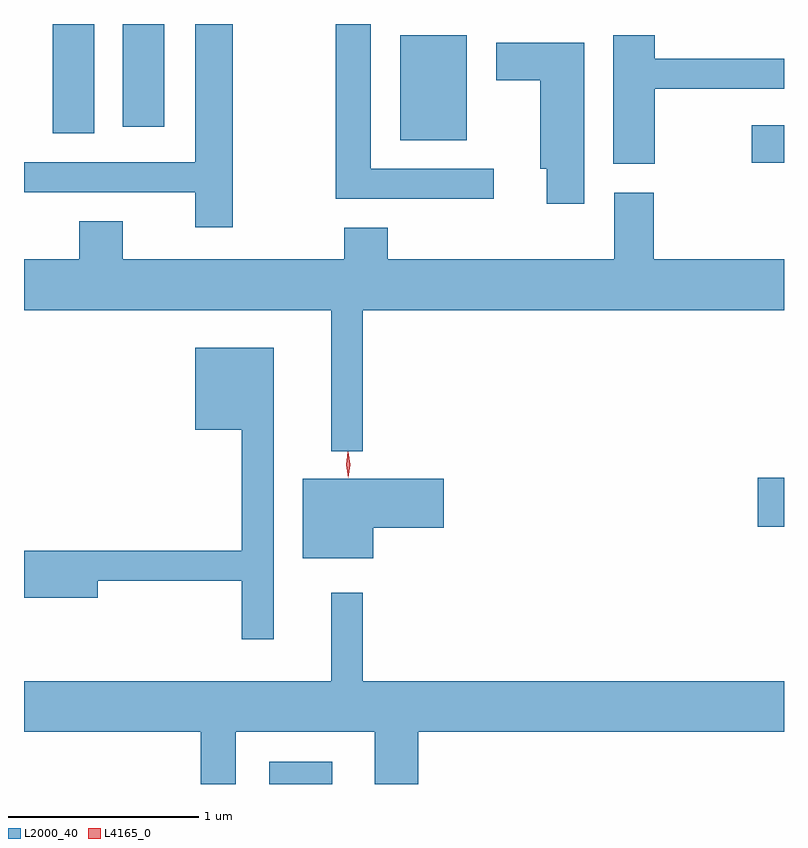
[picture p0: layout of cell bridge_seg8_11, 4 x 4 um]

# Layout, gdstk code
import gdstk
lib = gdstk.Library(unit=1e-6, precision=1e-09)
def R(c, l, rs):  # rectangles x0, y0, x1, y1
    for r in rs: c.add(gdstk.rectangle(r[:2], r[2:], *l))
def P(c, l, *ps):  # polygons
    for p in ps: c.add(gdstk.Polygon(p, *l))
L2000_40 = (2000, 40)
L4165_0 = (4165, 0)

bridge_seg8_11 = lib.new_cell('bridge_seg8_11')
R(bridge_seg8_11, L2000_40, [(1760.436,1920.502,1760.768,1920.619), (1763.006,1921.856,1763.145,1922.114), (1762.976,1923.771,1763.145,1923.969), (1761.126,1923.891,1761.474,1924.444), (1759.296,1923.926,1759.514,1924.502), (1759.666,1923.961,1759.884,1924.502)])
P(bridge_seg8_11, L2000_40, [(1761.618,1923.739),(1760.969,1923.739),(1760.969,1924.502),(1760.786,1924.502),(1760.786,1923.581),(1761.618,1923.581)],
  [(1760.244,1924.502),(1760.046,1924.502),(1760.046,1923.774),(1759.145,1923.774),(1759.145,1923.616),(1760.046,1923.616),(1760.046,1923.431),(1760.244,1923.431)],
  [(1762.464,1924.161),(1763.145,1924.161),(1763.145,1924.319),(1762.464,1924.319),(1762.464,1924.444),(1762.246,1924.444),(1762.246,1923.766),(1762.464,1923.766)],
  [(1762.094,1924.404),(1761.631,1924.404),(1761.631,1924.206),(1761.861,1924.206),(1761.861,1923.741),(1761.896,1923.741),(1761.896,1923.556),(1762.094,1923.556)],
  [(1760.929,1922.996),(1763.145,1922.996),(1763.145,1923.264),(1762.459,1923.264),(1762.459,1923.614),(1762.251,1923.614),(1762.251,1923.264),(1761.059,1923.264),(1761.059,1923.429),(1760.831,1923.429),(1760.831,1923.264),(1759.664,1923.264),(1759.664,1923.464),(1759.436,1923.464),(1759.436,1923.264),(1759.145,1923.264),(1759.145,1922.996),(1760.761,1922.996),(1760.761,1922.253),(1760.929,1922.253)],
  [(1760.459,1922.799),(1760.046,1922.799),(1760.046,1922.366),(1760.291,1922.366),(1760.291,1921.729),(1759.145,1921.729),(1759.145,1921.481),(1759.534,1921.481),(1759.534,1921.571),(1760.291,1921.571),(1760.291,1921.263),(1760.459,1921.263)],
  [(1760.984,1921.851),(1761.354,1921.851),(1761.354,1922.109),(1760.611,1922.109),(1760.611,1921.691),(1760.984,1921.691)],
  [(1760.259,1920.776),(1760.991,1920.776),(1760.991,1920.502),(1761.219,1920.502),(1761.219,1920.776),(1763.145,1920.776),(1763.145,1921.044),(1760.929,1921.044),(1760.929,1921.508),(1760.761,1921.508),(1760.761,1921.044),(1759.145,1921.044),(1759.145,1920.776),(1760.076,1920.776),(1760.076,1920.502),(1760.259,1920.502)])
P(bridge_seg8_11, L4165_0, [(1760.851,1922.114),(1760.851,1922.114),(1760.841,1922.182),(1760.85,1922.25),(1760.85,1922.25),(1760.851,1922.25),(1760.861,1922.182),(1760.852,1922.114)],
  [(1760.851,1922.12),(1760.851,1922.121),(1760.841,1922.183),(1760.85,1922.246),(1760.85,1922.247),(1760.851,1922.246),(1760.861,1922.184),(1760.852,1922.121)])

lib.write_gds('bridge_seg8_11.gds')
